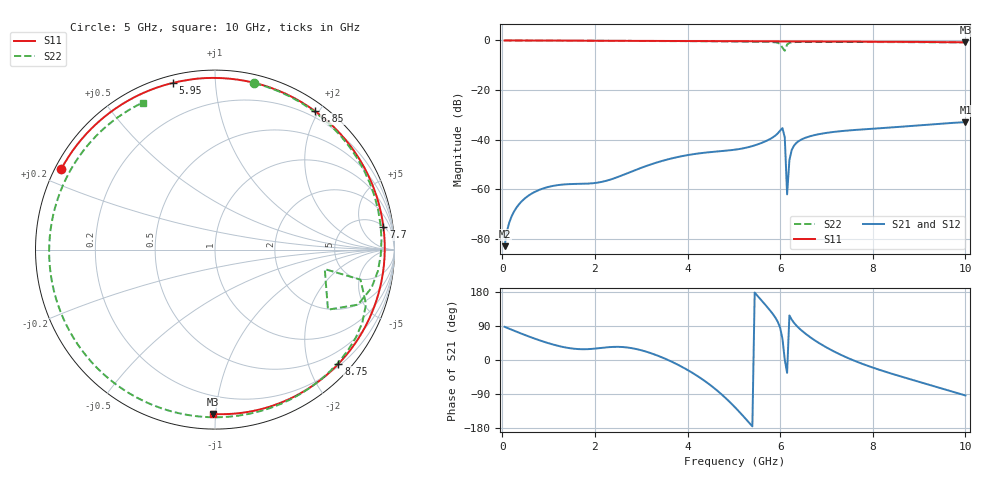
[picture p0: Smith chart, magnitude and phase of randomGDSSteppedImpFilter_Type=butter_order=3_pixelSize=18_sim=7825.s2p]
! freq	dB(S11)	phase(S11)	dB(S12)	phase(S12)
!  dB(S21)	phase(S21)	dB(S22)	phase(S22)
!S-par simulation data
#  GHz  S  DB  R 50
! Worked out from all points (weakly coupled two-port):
!   200 points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, 50 MHz to 10 GHz, reference 50 ohm
!   highest |S21| = -32.94 dB at 10 GHz (marker M1); lowest = -82.9 dB at 50 MHz (marker M2)
!   lowest |S11| = -0.8 dB at 10 GHz (marker M3), VSWR 22.76, Z = 4.32 - j49.1 ohm
!   |S11| at or under -10 dB: nowhere
!   |S22| runs from -4.1 to 0.0 dB; largest |S21 - S12| = 0
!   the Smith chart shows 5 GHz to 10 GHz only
!   S11 on the Smith chart (normalised r, x): 5 GHz: 0.02, +0.25; 5.95 GHz: 0.03, +0.78; 6.85 GHz: 0.12, +1.95; 7.7 GHz: 5, +13; 8.75 GHz: 0.24, -2.53; 10 GHz: 0.09, -0.98
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0.05  -0.00 -2.1  -82.94 87.5  -82.94 87.5  -0.00 -2.9
0.25  -0.02 -10.6  -69.09 77.5  -69.09 77.5  -0.02 -14.6
0.55  -0.03 -23.3  -62.77 63.1  -62.77 63.1  -0.04 -31.8
1.75  -0.09 -72.8  -57.78 28.4  -57.78 28.4  -0.11 -96.7
2.65  -0.14 -108.7  -53.92 33.7  -53.92 33.7  -0.16 -141.6
3.4  -0.17 -138.6  -48.85 9.4  -48.85 9.4  -0.21 -179.5
4.2  -0.23 -171.7  -45.65 -41.1  -45.65 -41.1  -0.29 134.7
5  -0.29 152.4  -44.10 -121.6  -44.10 -121.6  -0.42 76.7
5.05  -0.30 150.0  -43.97 -128.0  -43.97 -128.0  -0.43 72.6
5.55  -0.34 125.3  -41.67 163.9  -41.67 163.9  -0.53 28.0
5.95  -0.37 104.3  -37.44 100.4  -37.44 100.4  -0.94 -13.7
6.05  -0.38 98.9  -35.34 55.7  -35.34 55.7  -2.94 -28.0
6.1  -0.38 96.2  -39.15 0.3  -39.15 0.3  -4.14 -10.1
6.15  -0.38 93.4  -62.06 -33.9  -62.06 -33.9  -1.64 -11.7
6.2  -0.38 90.7  -48.21 117.6  -48.21 117.6  -0.97 -19.8
6.25  -0.39 87.9  -44.15 106.4  -44.15 106.4  -0.76 -26.4
6.7  -0.42 62.7  -38.35 55.8  -38.35 55.8  -0.59 -67.2
6.85  -0.43 54.3  -37.74 43.9  -37.74 43.9  -0.59 -78.5
7.7  -0.47 7.6  -35.97 -6.7  -35.97 -6.7  -0.62 -132.1
8.35  -0.52 -24.8  -35.14 -33.9  -35.14 -33.9  -0.66 -165.5
8.75  -0.56 -42.8  -34.59 -48.6  -34.59 -48.6  -0.69 175.5
10  -0.76 -90.8  -32.94 -93.6  -32.94 -93.6  -0.79 116.2
